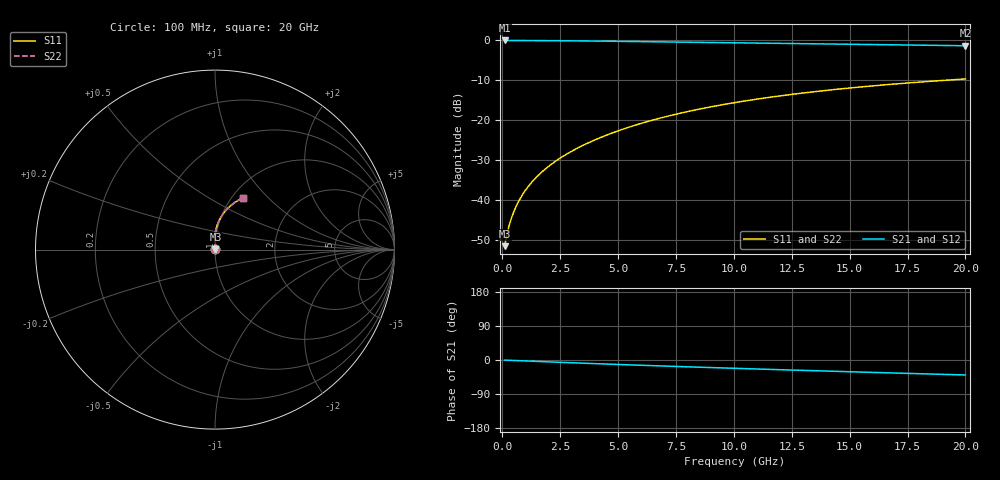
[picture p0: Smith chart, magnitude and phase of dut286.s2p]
! Touchstone file exported from HFSS 2024.1.0
!  File:  C:/UserFiles/LocalFiles/RDL_TSV_Batchsim/temp_RDL_bottom_286_1778703168.aedt
!  Generated:  04:15:33 AM May 14, 2026
!  Design:  RDL_bottom
!  Project:  temp_RDL_bottom_286_1778703168
!  Setup:  Setup1
!  Solution:  Sweep
! Variables:
!  dtsv = 10.80580581um
!  hbump = 3um
!  htsv = 78.78um
!  ldown = 554.73um
!  lrdl = 100um
!  p = 40
!  p1 = 58.7um
!  rhole = 1um
!  t = 450um
!  tdown = 3.4um
!  trdl = 3.915915916um
!  wdown = 29.87um
!  wrdl = 20um
# GHz S MA R 50.000000
! Terminal data exported
! Port[1] = RDL1_T1
! Port[2] = RDL1_T2
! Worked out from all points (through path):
!   200 points, 100 MHz to 20 GHz, reference 50 ohm
!   highest |S21| = -0.02 dB at 100 MHz (marker M1); lowest = -1.3 dB at 20 GHz (marker M2)
!   group delay of S21, straight-line fit = 5.41 ps
!   lowest |S11| = -51.5 dB at 100 MHz (marker M3), VSWR 1.01, Z = 50.2 + j0.151 ohm
!   |S11| at or under -10 dB: start of sweep to 19.07 GHz
!   |S22| runs from -51.5 to -9.7 dB; largest |S21 - S12| = 3.2e-15
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0.1  0.002669 34.3  0.9978 -0.3  0.9978 -0.3  0.002669 34.3
! Gamma 0 0 0 0
! Port Impedance 50 0 50 0
0.2  0.003739 51.1  0.9976 -0.5  0.9976 -0.5  0.003739 51.1
0.3  0.004895 59.7  0.9974 -0.8  0.9974 -0.8  0.004895 59.7
0.4  0.006059 65.1  0.9972 -1.0  0.9972 -1.0  0.00606 65.1
0.5  0.007234 69.0  0.997 -1.3  0.997 -1.3  0.007234 69.0
0.6  0.008423 72.0  0.9968 -1.5  0.9968 -1.5  0.008423 72.0
0.8  0.01085 76.4  0.9964 -2.0  0.9964 -2.0  0.01085 76.4
1.1  0.01462 80.6  0.9957 -2.7  0.9957 -2.7  0.01462 80.6
1.3  0.01719 82.6  0.9951 -3.2  0.9951 -3.2  0.01719 82.6
1.6  0.02115 84.7  0.9941 -4.0  0.9941 -4.0  0.02115 84.7
2.1  0.028 87.1  0.992 -5.2  0.992 -5.2  0.028 87.1
2.7  0.03664 88.9  0.989 -6.6  0.989 -6.6  0.03664 88.9
3.5  0.04889 90.0  0.9841 -8.5  0.9841 -8.5  0.04889 90.0
4.2  0.06027 90.3  0.9792 -10.1  0.9792 -10.1  0.06026 90.3
5  0.0739 90.0  0.9733 -11.8  0.9733 -11.8  0.0739 90.0
6.8  0.1063 87.8  0.9589 -15.6  0.9589 -15.6  0.1063 87.8
8.4  0.1361 84.9  0.9459 -18.8  0.9459 -18.8  0.1361 84.9
10.1  0.1678 81.5  0.9323 -22.1  0.9323 -22.1  0.1678 81.4
11.7  0.1969 78.0  0.9198 -25.1  0.9198 -25.1  0.1969 78.0
13.4  0.2268 74.4  0.9066 -28.2  0.9066 -28.2  0.2268 74.4
16.7  0.2809 67.7  0.8816 -34.0  0.8816 -34.0  0.2809 67.7
20  0.3292 61.4  0.857 -39.5  0.857 -39.5  0.3292 61.4
